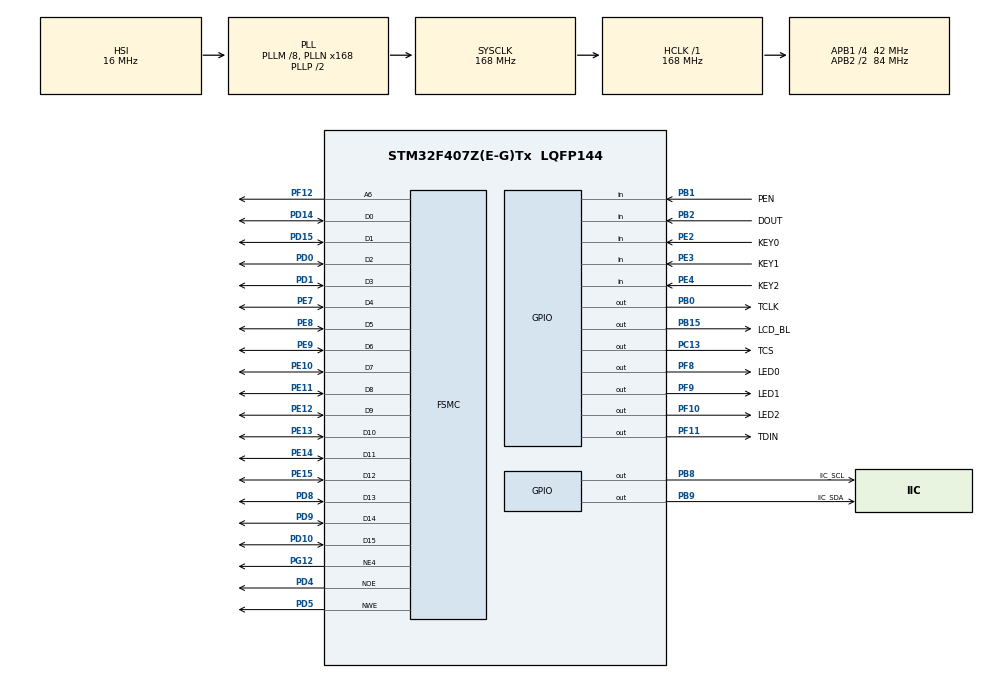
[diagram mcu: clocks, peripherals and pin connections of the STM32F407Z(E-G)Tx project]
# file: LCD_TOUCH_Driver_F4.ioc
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FSMC.AddressSetupTime1=0x0f
FSMC.BusTurnAroundDuration1=0
FSMC.DataSetupTime1=60
FSMC.ExtendedAddressSetupTime1=9
FSMC.ExtendedBusTurnAroundDuration1=0
FSMC.ExtendedDataSetupTime1=8
FSMC.ExtendedMode1=FSMC_EXTENDED_MODE_ENABLE
Mcu.Family=STM32F4
Mcu.Name=STM32F407Z(E-G)Tx
Mcu.Package=LQFP144
NVIC.PriorityGroup=NVIC_PRIORITYGROUP_4
PA13.Mode=Serial_Wire
PA13.Signal=SYS_JTMS-SWDIO
PA14.Mode=Serial_Wire
PA14.Signal=SYS_JTCK-SWCLK
PB0.GPIO_Label=TCLK
PB0.GPIO_PuPd=GPIO_PULLUP
PB0.GPIO_Speed=GPIO_SPEED_FREQ_VERY_HIGH
PB0.Signal=GPIO_Output
PB1.GPIO_Label=PEN
PB1.GPIO_Mode=GPIO_MODE_INPUT
PB1.GPIO_PuPd=GPIO_PULLUP
PB1.Signal=GPIO_Input
PB15.GPIO_Label=LCD_BL
PB15.GPIO_PuPd=GPIO_PULLUP
PB15.GPIO_Speed=GPIO_SPEED_FREQ_MEDIUM
PB15.Signal=GPIO_Output
PB2.GPIO_Label=DOUT
PB2.GPIO_PuPd=GPIO_PULLUP
PB2.Signal=GPIO_Input
PB8.GPIO_Label=IIC_SCL
PB8.GPIO_PuPd=GPIO_PULLUP
PB8.GPIO_Speed=GPIO_SPEED_FREQ_VERY_HIGH
PB8.Signal=GPIO_Output
PB9.GPIO_Label=IIC_SDA
PB9.GPIO_PuPd=GPIO_PULLUP
PB9.GPIO_Speed=GPIO_SPEED_FREQ_VERY_HIGH
PB9.Signal=GPIO_Output
PC13-ANTI_TAMP.GPIO_Label=TCS
PC13-ANTI_TAMP.Signal=GPIO_Output
PD0.GPIO_PuPd=GPIO_PULLUP
PD0.Signal=FSMC_D2_DA2
PD1.GPIO_PuPd=GPIO_PULLUP
PD1.Signal=FSMC_D3_DA3
PD10.GPIO_PuPd=GPIO_PULLUP
PD10.Signal=FSMC_D15_DA15
PD14.GPIO_PuPd=GPIO_PULLUP
PD14.Signal=FSMC_D0_DA0
PD15.GPIO_PuPd=GPIO_PULLUP
PD15.Signal=FSMC_D1_DA1
PD4.GPIO_PuPd=GPIO_PULLUP
PD4.Signal=FSMC_NOE
PD5.GPIO_PuPd=GPIO_PULLUP
PD5.Signal=FSMC_NWE
PD8.GPIO_PuPd=GPIO_PULLUP
PD8.Signal=FSMC_D13_DA13
PD9.GPIO_PuPd=GPIO_PULLUP
PD9.Signal=FSMC_D14_DA14
PE10.GPIO_PuPd=GPIO_PULLUP
PE10.Signal=FSMC_D7_DA7
PE11.GPIO_PuPd=GPIO_PULLUP
PE11.Signal=FSMC_D8_DA8
PE12.GPIO_PuPd=GPIO_PULLUP
PE12.Signal=FSMC_D9_DA9
PE13.GPIO_PuPd=GPIO_PULLUP
PE13.Signal=FSMC_D10_DA10
PE14.GPIO_PuPd=GPIO_PULLUP
PE14.Signal=FSMC_D11_DA11
PE15.GPIO_PuPd=GPIO_PULLUP
PE15.Signal=FSMC_D12_DA12
PE2.GPIO_Label=KEY0
PE2.GPIO_PuPd=GPIO_PULLUP
PE2.Signal=GPIO_Input
PE3.GPIO_Label=KEY1
PE3.GPIO_PuPd=GPIO_PULLUP
PE3.Signal=GPIO_Input
PE4.GPIO_Label=KEY2
PE4.GPIO_PuPd=GPIO_PULLUP
PE4.Signal=GPIO_Input
PE7.GPIO_PuPd=GPIO_PULLUP
PE7.Signal=FSMC_D4_DA4
PE8.GPIO_PuPd=GPIO_PULLUP
PE8.Signal=FSMC_D5_DA5
PE9.GPIO_PuPd=GPIO_PULLUP
PE9.Signal=FSMC_D6_DA6
PF10.GPIO_Label=LED2
PF10.GPIO_ModeDefaultOutputPP=GPIO_MODE_OUTPUT_PP
PF10.GPIO_PuPd=GPIO_PULLUP
PF10.GPIO_Speed=GPIO_SPEED_FREQ_VERY_HIGH
PF10.PinState=GPIO_PIN_SET
PF10.Signal=GPIO_Output
PF11.GPIO_Label=TDIN
PF11.GPIO_Speed=GPIO_SPEED_FREQ_VERY_HIGH
PF11.Signal=GPIO_Output
PF12.GPIO_PuPd=GPIO_PULLUP
PF12.Signal=FSMC_A6
PF8.GPIO_Label=LED0
PF8.GPIO_ModeDefaultOutputPP=GPIO_MODE_OUTPUT_PP
PF8.GPIO_PuPd=GPIO_PULLUP
PF8.GPIO_Speed=GPIO_SPEED_FREQ_VERY_HIGH
PF8.PinState=GPIO_PIN_SET
PF8.Signal=GPIO_Output
PF9.GPIO_Label=LED1
PF9.GPIO_ModeDefaultOutputPP=GPIO_MODE_OUTPUT_PP
PF9.GPIO_PuPd=GPIO_PULLUP
PF9.GPIO_Speed=GPIO_SPEED_FREQ_VERY_HIGH
PF9.PinState=GPIO_PIN_SET
PF9.Signal=GPIO_Output
PG12.GPIO_PuPd=GPIO_PULLUP
PG12.Mode=NorPsramChipSelect4_1
PG12.Signal=FSMC_NE4
PH0-OSC_IN.Mode=HSE-External-Oscillator
PH0-OSC_IN.Signal=RCC_OSC_IN
PH1-OSC_OUT.Mode=HSE-External-Oscillator
PH1-OSC_OUT.Signal=RCC_OSC_OUT
ProjectManager.HeapSize=0x200
ProjectManager.StackSize=0x400
ProjectManager.TargetToolchain=MDK-ARM V5.27
RCC.48MHZClocksFreq_Value=84000000
RCC.AHBFreq_Value=168000000
RCC.APB1CLKDivider=RCC_HCLK_DIV4
RCC.APB1Freq_Value=42000000
RCC.APB1TimFreq_Value=84000000
RCC.APB2CLKDivider=RCC_HCLK_DIV2
RCC.APB2Freq_Value=84000000
RCC.APB2TimFreq_Value=168000000
RCC.CortexFreq_Value=168000000
RCC.HCLKFreq_Value=168000000
RCC.HSE_VALUE=25000000
RCC.HSI_VALUE=16000000
RCC.LSE_VALUE=32768
RCC.PLLM=8
RCC.PLLN=168
RCC.SYSCLKFreq_VALUE=168000000
RCC.SYSCLKSource=RCC_SYSCLKSOURCE_PLLCLK
RCC.VCOOutputFreq_Value=336000000
SH.FSMC_A6.0=FSMC_A6,A6_1
SH.FSMC_D0_DA0.0=FSMC_D0,16b-d1
SH.FSMC_D10_DA10.0=FSMC_D10,16b-d1
SH.FSMC_D11_DA11.0=FSMC_D11,16b-d1
SH.FSMC_D12_DA12.0=FSMC_D12,16b-d1
SH.FSMC_D13_DA13.0=FSMC_D13,16b-d1
SH.FSMC_D14_DA14.0=FSMC_D14,16b-d1
SH.FSMC_D15_DA15.0=FSMC_D15,16b-d1
SH.FSMC_D1_DA1.0=FSMC_D1,16b-d1
SH.FSMC_D2_DA2.0=FSMC_D2,16b-d1
SH.FSMC_D3_DA3.0=FSMC_D3,16b-d1
SH.FSMC_D4_DA4.0=FSMC_D4,16b-d1
SH.FSMC_D5_DA5.0=FSMC_D5,16b-d1
SH.FSMC_D6_DA6.0=FSMC_D6,16b-d1
SH.FSMC_D7_DA7.0=FSMC_D7,16b-d1
SH.FSMC_D8_DA8.0=FSMC_D8,16b-d1
SH.FSMC_D9_DA9.0=FSMC_D9,16b-d1
SH.FSMC_NOE.0=FSMC_NOE,Lcd1
SH.FSMC_NWE.0=FSMC_NWE,Lcd1
board=custom

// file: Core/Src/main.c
/* USER CODE BEGIN Header */
/**
  ******************************************************************************
  * @file           : main.c
  * @brief          : Main program body
  ******************************************************************************
  * @attention
  *
  * <h2><center>&copy; Copyright (c) 2021 STMicroelectronics.
  * All rights reserved.</center></h2>
  *
  * This software component is licensed by ST under BSD 3-Clause license,
  * the "License"; You may not use this file except in compliance with the
  * License. You may obtain a copy of the License at:
  *                        opensource.org/licenses/BSD-3-Clause
  *
  ******************************************************************************
  */
/* USER CODE END Header */
#include "main.h"
#include "gpio.h"
#include "fsmc.h"

/* USER CODE BEGIN Includes */
#include "base.h"
#include "lcd.h"
#include "touch.h"
/* USER CODE END Includes */

void SystemClock_Config(void);
/* USER CODE BEGIN PFP */
void Load_Drow_Dialog(void)
{
	LCD_Clear(WHITE);//婵炴挸鎳庨惈锟?
 	POINT_COLOR=BLUE;//閻犱礁澧介悿鍡欌偓娑欍仦缂嶅绋夋ウ鎸庢啱闁跨噦鎷??
	LCD_ShowString(lcddev.width-24,0,200,16,16,"RST");//闁哄嫬澧介妵姘?掗崨顓犳綄闁告牕鎼悡锟?
  	POINT_COLOR=RED;//閻犱礁澧介悿鍡涙偨閼姐倗鎳夐柦鍐╃箚婢癸拷
}
////////////////////////////////////////////////////////////////////////////////
//闁汇垽娼ч鎰喆閿旇姤鍤嬮悘鐐茬箣缁楁捇寮垫径鎰姤闁跨噦鎷??
//闁汇垻绮幐澶愮嵁瀹曞洤娈?
//x0,y0:闁秆勫姈閻栵拷
//len:缂佹儳娼￠弳閬嶆晸閿燂拷?
//color:濡増绮忔竟锟?
void gui_draw_hline(u16 x0,u16 y0,u16 len,u16 color)
{
	if(len==0)return;
	LCD_Fill(x0,y0,x0+len-1,y0,color);
}
//闁汇垼顕ч悿鍕疀閸愩劍濡?
//x0,y0:闁秆勫姈閻栵拷
//r:闁告锕ょ欢锟?
//color:濡増绮忔竟锟?
void gui_fill_circle(u16 x0,u16 y0,u16 r,u16 color)
{
	u32 i;
	u32 imax = ((u32)r*707)/1000+1;
	u32 sqmax = (u32)r*(u32)r+(u32)r/2;
	u32 x=r;
	gui_draw_hline(x0-r,y0,2*r,color);
	for (i=1;i<=imax;i++)
	{
		if ((i*i+x*x)>sqmax)// draw lines from outside
		{
 			if (x>imax)
			{
				gui_draw_hline (x0-i+1,y0+x,2*(i-1),color);
				gui_draw_hline (x0-i+1,y0-x,2*(i-1),color);
			}
			x--;
		}
		// draw lines from inside (center)
		gui_draw_hline(x0-x,y0+i,2*x,color);
		gui_draw_hline(x0-x,y0-i,2*x,color);
	}
}
//濞戞挶鍊撻柌婊堝极妫颁胶顓虹?瑰壊鍠氬▓鎴犵磼濠靛棭鍤犻柨鐕傛嫹?
//x1,x2闁挎稒宀稿〒鍫曞矗閺嵮勨枙闁稿﹨鍋愬▓鎴炵▔閵堝嫰鍤嬮柨鐕傛嫹?
//閺夆晜鏌ㄥú鏍磹绾绐梶x1-x2|
u16 my_abs(u16 x1,u16 x2)
{
	if(x1>x2)return x1-x2;
	else return x2-x1;
}
//闁汇垼顔婄粩鎾级閿涘嫮鐓愰柨鐕傛嫹?
//(x1,y1),(x2,y2):缂佺偓瀵у顖炴儍閸曨喗宕冲┑顔碱儏濞兼鏁撻敓锟??
//size闁挎稒姘ㄩ崵搴ㄥ级閿涘嫭鐣辩紒顔筋殘缁繒绮欑?ｎ亜顔?
//color闁挎稒姘ㄩ崵搴ㄥ级閿涘嫭鐣卞Λ鐗堢矎婢癸拷
void lcd_draw_bline(u16 x1, u16 y1, u16 x2, u16 y2,u8 size,u16 color)
{
	u16 t;
	int xerr=0,yerr=0,delta_x,delta_y,distance;
	int incx,incy,uRow,uCol;
	if(x1<size|| x2<size||y1<size|| y2<size)return;
	delta_x=x2-x1; //閻犱緤绱曢悾濠氬锤閹邦厾鍨煎褏鍋ら崳锟?
	delta_y=y2-y1;
	uRow=x1;
	uCol=y1;
	if(delta_x>0)incx=1; //閻犱礁澧介悿鍡涘础閺囩噥鍔勯柡鍌滄嚀閹拷
	else if(delta_x==0)incx=0;//闁搞劌鍊诲ú鍧楁晸閿燂拷?
	else {incx=-1;delta_x=-delta_x;}
	if(delta_y>0)incy=1;
	else if(delta_y==0)incy=0;//婵ɑ娼欓柦鈺呮晸閿燂拷?
	else{incy=-1;delta_y=-delta_y;}
	if( delta_x>delta_y)distance=delta_x; //闂侇偄顦ぐ鍥春閻戞ɑ鎷卞褏鍋ら崳娲锤閹邦厾鍨奸柨鐕傛嫹?
	else distance=delta_y;
	for(t=0;t<=distance+1;t++ )//闁汇垼宕甸崵搴㈡綇閹惧啿姣?
	{
		gui_fill_circle(uRow,uCol,size,color);//闁汇垼宕甸崑锟?
		xerr+=delta_x ;
		yerr+=delta_y ;
		if(xerr>distance)
		{
			xerr-=distance;
			uRow+=incx;
		}
		if(yerr>distance)
		{
			yerr-=distance;
			uCol+=incy;
		}
	}
}
////////////////////////////////////////////////////////////////////////////////
 //5濞戞搩浜ｈ闁硅矇鍛化闁汇劌瀚伴·渚?鏁撻敓锟??(闁汇垽娼ч鎰喆閿旇姤鍤嬮悘鐐茬箳閺侊拷)
const u16 POINT_COLOR_TBL[OTT_MAX_TOUCH]={RED,GREEN,BLUE,BROWN,GRED};
//闁汇垻鏁诲Ο鍡欐喆閿旇姤鍤嬮悘鐐茬箲缁佸鎷犻弴鐐叉瘣闁跨噦鎷??
void rtp_test(void)
{
	u8 key;
	u8 i=0;
	while(1)
	{
	 	key=KEY_Scan(0);
		tp_dev.scan(0);
		if(tp_dev.sta&TP_PRES_DOWN)			//閻熸瑱闄勯幊婊呬沪韫囨凹娼堕柟绋款槷缁楋拷
		{
		 	if(tp_dev.x[0]<lcddev.width&&tp_dev.y[0]<lcddev.height)
			{
				if(tp_dev.x[0]>(lcddev.width-24)&&tp_dev.y[0]<16)Load_Drow_Dialog();//婵炴挸鎳樺▍锟?
				else TP_Draw_Big_Point(tp_dev.x[0],tp_dev.y[0],RED);		//闁汇垼顕уù锟?
			}
		}else delay_ms(10);	//婵炲备鍓濆﹢渚?骞愭径鎰殯闁圭ǹ顦粭鍛存儍閸曨剚顦ч柨鐕傛嫹?
		if(key==KEY0_PRES)	//KEY0闁圭ǹ顦粭锟?,闁告帗鐟︽晶鐣屾偘鐏炲墽澧￠柛鎴濇閳诲ジ鏁撻敓锟??
		{
			LCD_Clear(WHITE);	//婵炴挸鎳庨惈锟?
		    TP_Adjust();  		//閻忕偛绻愮粻鐑藉冀閳ュ啿娅?
			TP_Save_Adjdata();
			Load_Drow_Dialog();
		}
		i++;
		if(i%20==0)LED0_T;
	}
}
//闁汇垽娼ч鎰喆閿旇姤鍤嬮悘鐐茬箲缁佸鎷犻弴鐐叉瘣闁跨噦鎷??
void ctp_test(void)
{
	u8 t=0;
	u8 i=0;
 	u16 lastpos[5][2];		//闁跨噦鎷??闁告艾绨肩粩鏉戔枎閿涘嫭鐣遍柡浣哄瀹擄拷
	while(1)
	{
		tp_dev.scan(0);
		for(t=0;t<5;t++)
		{
			if((tp_dev.sta)&(1<<t))
			{
				if(tp_dev.x[t]<lcddev.width&&tp_dev.y[t]<lcddev.height)
				{
					if(lastpos[t][0]==0XFFFF)
					{
						lastpos[t][0] = tp_dev.x[t];
						lastpos[t][1] = tp_dev.y[t];
					}
					lcd_draw_bline(lastpos[t][0],lastpos[t][1],tp_dev.x[t],tp_dev.y[t],2,POINT_COLOR_TBL[t]);//闁汇垼宕甸崵锟?
					lastpos[t][0]=tp_dev.x[t];
					lastpos[t][1]=tp_dev.y[t];
					if(tp_dev.x[t]>(lcddev.width-24)&&tp_dev.y[t]<20)
					{
						Load_Drow_Dialog();//婵炴挸鎳樺▍锟?
					}
				}
			}else lastpos[t][0]=0XFFFF;
		}

		delay_ms(5);i++;
		if(i%20==0)LED0_T;
	}
}
/* USER CODE END PFP */

int main(void)
{

  /* MCU Configuration--------------------------------------------------------*/

  /* Reset of all peripherals, Initializes the Flash interface and the Systick. */
  HAL_Init();

  /* Configure the system clock */
  SystemClock_Config();

  /* Initialize all configured peripherals */
  MX_GPIO_Init();
  MX_FSMC_Init();
  /* USER CODE BEGIN 2 */
  delay_init(168);
	LCD_Init();
	tp_dev.init();

 	POINT_COLOR=RED;//閻犱礁澧介悿鍡欌偓娑欍仦缂嶅绋夐搹鐟邦劉闁跨噦鎷??
	LCD_ShowString(30,40,210,24,24,(uint8_t *)"MINI STM32F4");
	LCD_ShowString(30,70,200,16,16,(uint8_t *)"TFTLCD TEST");
	LCD_ShowString(30,90,200,16,16,(uint8_t *)"ATOM@ALIENTEK");
 	LCD_ShowString(30,110,200,16,16,(uint8_t *)"The First Test");
	LCD_ShowString(30,130,200,12,12,(uint8_t *)"2021/4/8");

  if(tp_dev.touchtype!=0XFF)LCD_ShowString(30,130,200,16,16,"Press KEY0 to Adjust");//闁汇垻鏁诲Ο鍡欎沪韫囨柨顤呴柡鍕⒔閵囷拷
	delay_ms(1500);
 	Load_Drow_Dialog();

	if(tp_dev.touchtype&0X80)ctp_test();//闁汇垽娼ч鎰沪韫囨梻銈撮悹鍥锋嫹
	else rtp_test(); 					//闁汇垻鏁诲Ο鍡欎沪韫囨梻銈撮悹鍥锋嫹
  /* USER CODE END 2 */

  /* Infinite loop */
  while (1)
  {

  }
}

void SystemClock_Config(void)
{
  RCC_OscInitTypeDef RCC_OscInitStruct = {0};
  RCC_ClkInitTypeDef RCC_ClkInitStruct = {0};

  /** Configure the main internal regulator output voltage
  */
  __HAL_RCC_PWR_CLK_ENABLE();
  __HAL_PWR_VOLTAGESCALING_CONFIG(PWR_REGULATOR_VOLTAGE_SCALE1);
  /** Initializes the RCC Oscillators according to the specified parameters
  * in the RCC_OscInitTypeDef structure.
  */
  RCC_OscInitStruct.OscillatorType = RCC_OSCILLATORTYPE_HSI;
  RCC_OscInitStruct.HSIState = RCC_HSI_ON;
  RCC_OscInitStruct.HSICalibrationValue = RCC_HSICALIBRATION_DEFAULT;
  RCC_OscInitStruct.PLL.PLLState = RCC_PLL_ON;
  RCC_OscInitStruct.PLL.PLLSource = RCC_PLLSOURCE_HSI;
  RCC_OscInitStruct.PLL.PLLM = 8;
  RCC_OscInitStruct.PLL.PLLN = 168;
  RCC_OscInitStruct.PLL.PLLP = RCC_PLLP_DIV2;
  RCC_OscInitStruct.PLL.PLLQ = 4;
  if (HAL_RCC_OscConfig(&RCC_OscInitStruct) != HAL_OK)
  {
    Error_Handler();
  }
  /** Initializes the CPU, AHB and APB buses clocks
  */
  RCC_ClkInitStruct.ClockType = RCC_CLOCKTYPE_HCLK|RCC_CLOCKTYPE_SYSCLK
                              |RCC_CLOCKTYPE_PCLK1|RCC_CLOCKTYPE_PCLK2;
  RCC_ClkInitStruct.SYSCLKSource = RCC_SYSCLKSOURCE_PLLCLK;
  RCC_ClkInitStruct.AHBCLKDivider = RCC_SYSCLK_DIV1;
  RCC_ClkInitStruct.APB1CLKDivider = RCC_HCLK_DIV4;
  RCC_ClkInitStruct.APB2CLKDivider = RCC_HCLK_DIV2;

  if (HAL_RCC_ClockConfig(&RCC_ClkInitStruct, FLASH_LATENCY_5) != HAL_OK)
  {
    Error_Handler();
  }
}

void Error_Handler(void)
{
  __disable_irq();
  while (1)
  {
  }
}

/************************ (C) COPYRIGHT STMicroelectronics *****END OF FILE****/
